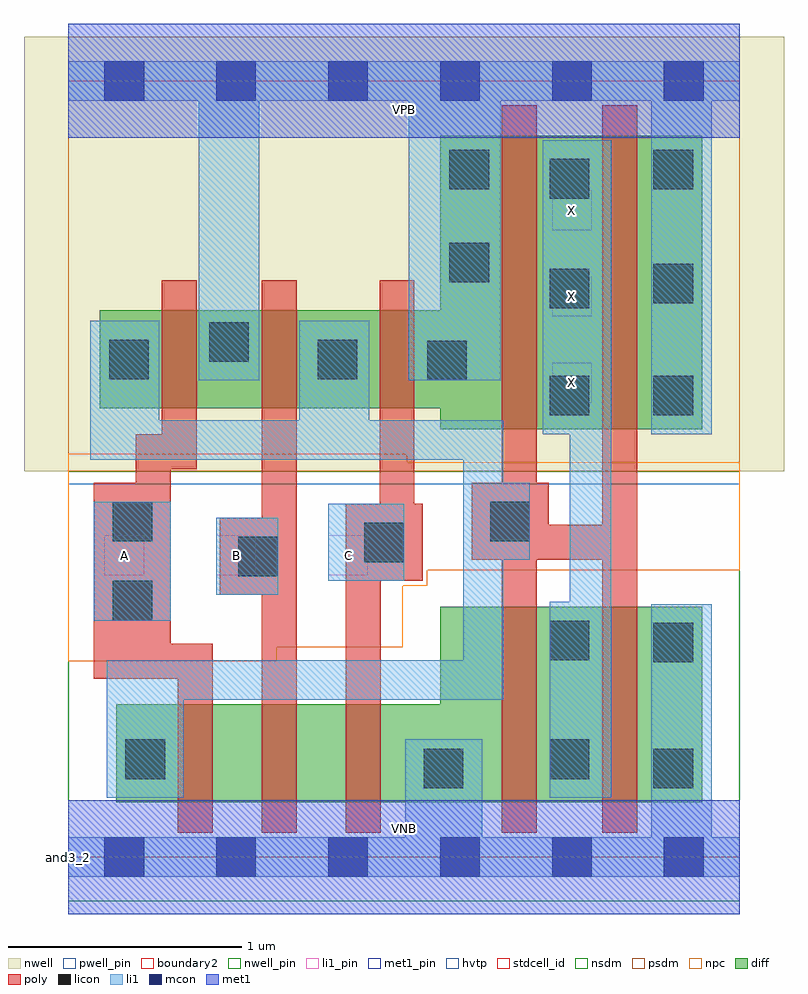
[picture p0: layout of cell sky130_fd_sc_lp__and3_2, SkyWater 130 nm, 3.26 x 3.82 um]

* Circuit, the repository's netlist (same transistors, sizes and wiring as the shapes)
* Copyright 2020 The SkyWater PDK Authors
*
* Licensed under the Apache License, Version 2.0 (the "License");
* you may not use this file except in compliance with the License.
* You may obtain a copy of the License at
*
*     https://www.apache.org/licenses/LICENSE-2.0
*
* Unless required by applicable law or agreed to in writing, software
* distributed under the License is distributed on an "AS IS" BASIS,
* WITHOUT WARRANTIES OR CONDITIONS OF ANY KIND, either express or implied.
* See the License for the specific language governing permissions and
* limitations under the License.
*
* SPDX-License-Identifier: Apache-2.0

.SUBCKT sky130_fd_sc_lp__and3_2 A B C VGND VNB VPB VPWR X
*.PININFO A:I B:I C:I VGND:I VNB:I VPB:I VPWR:I X:O
MMP0 y A VPWR VPB sky130_fd_pr__pfet_01v8_hvt m=1 w=0.42U l=0.15U mult=1 sa=0.265
+ sb=0.265 sd=0.28 area=0.063 perim=1.14
MMP1 y B VPWR VPB sky130_fd_pr__pfet_01v8_hvt m=1 w=0.42U l=0.15U mult=1 sa=0.265
+ sb=0.265 sd=0.28 area=0.063 perim=1.14
MMP2 y C VPWR VPB sky130_fd_pr__pfet_01v8_hvt m=1 w=0.42U l=0.15U mult=1 sa=0.265
+ sb=0.265 sd=0.28 area=0.063 perim=1.14
MMIP0 X y VPWR VPB sky130_fd_pr__pfet_01v8_hvt m=2 w=1.26U l=0.15U mult=1 sa=0.265
+ sb=0.265 sd=0.28 area=0.063 perim=1.14
MMN0 y A sndA VNB sky130_fd_pr__nfet_01v8 m=1 w=0.42U l=0.15U mult=1 sa=0.265 sb=0.265
+ sd=0.28 area=0.063 perim=1.14
MMN1 sndA B sndB VNB sky130_fd_pr__nfet_01v8 m=1 w=0.42U l=0.15U mult=1 sa=0.265
+ sb=0.265 sd=0.28 area=0.063 perim=1.14
MMN2 sndB C VGND VNB sky130_fd_pr__nfet_01v8 m=1 w=0.42U l=0.15U mult=1 sa=0.265
+ sb=0.265 sd=0.28 area=0.063 perim=1.14
MMIN0 X y VGND VNB sky130_fd_pr__nfet_01v8 m=2 w=0.84U l=0.15U mult=1 sa=0.265
+ sb=0.265 sd=0.28 area=0.063 perim=1.14
.ENDS sky130_fd_sc_lp__and3_2

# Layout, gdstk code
import gdstk
lib = gdstk.Library(unit=1e-6, precision=1e-09)
def R(c, l, rs):  # rectangles x0, y0, x1, y1
    for r in rs: c.add(gdstk.rectangle(r[:2], r[2:], *l))
def A(c, l, x, y, w, h, nx, ny, dx, dy):  # array of equal rectangles
    R(c, l, [(x+i*dx, y+j*dy, x+i*dx+w, y+j*dy+h) for i in range(nx) for j in range(ny)])
def P(c, l, *ps):  # polygons
    for p in ps: c.add(gdstk.Polygon(p, *l))
nwell_pin = (64, 16)
nwell = (64, 20)
diff = (65, 20)
poly = (66, 20)
licon = (66, 44)
li1_pin = (67, 16)
li1 = (67, 20)
mcon = (67, 44)
met1_pin = (68, 16)
met1 = (68, 20)
hvtp = (78, 44)
stdcell_id = (81, 4)
nsdm = (93, 44)
psdm = (94, 20)
npc = (95, 20)
pwell_pin = (122, 16)
boundary2 = (236, 0)

sky130_fd_sc_lp__and3_2 = lib.new_cell('sky130_fd_sc_lp__and3_2')
R(sky130_fd_sc_lp__and3_2, nwell_pin, [(0,3.085,2.88,3.33)])
R(sky130_fd_sc_lp__and3_2, nwell, [(-0.19,1.655,3.07,3.52)])
P(sky130_fd_sc_lp__and3_2, diff, [(2.72,3.095),(1.595,3.095),(1.595,2.345),(0.135,2.345),(0.135,1.925),(1.595,1.925),(1.595,1.835),(2.72,1.835)],
  [(2.72,1.075),(1.595,1.075),(1.595,0.655),(0.205,0.655),(0.205,0.235),(2.72,0.235)])
P(sky130_fd_sc_lp__and3_2, poly, [(0.62,0.915),(0.44,0.915),(0.44,1.665),(0.55,1.665),(0.55,2.475),(0.4,2.475),(0.4,1.815),(0.29,1.815),(0.29,1.605),(0.11,1.605),(0.11,0.765),(0.47,0.765),(0.47,0.105),(0.62,0.105)],
  [(0.98,2.475),(0.83,2.475),(0.83,1.455),(0.65,1.455),(0.65,1.125),(0.83,1.125),(0.83,0.105),(0.98,0.105)],
  [(1.52,1.515),(1.485,1.515),(1.485,2.475),(1.335,2.475),(1.335,1.515),(1.19,1.515),(1.19,0.105),(1.34,0.105),(1.34,1.185),(1.52,1.185)],
  [(2.44,3.225),(2.29,3.225),(2.29,1.425),(2.06,1.425),(2.06,1.605),(2.01,1.605),(2.01,3.225),(1.86,3.225),(1.86,1.605),(1.73,1.605),(1.73,1.275),(1.86,1.275),(1.86,0.105),(2.01,0.105),(2.01,1.275),(2.29,1.275),(2.29,0.105),(2.44,0.105)])
R(sky130_fd_sc_lp__and3_2, licon, [(1.525,0.295,1.695,0.465), (2.51,0.295,2.68,0.465), (0.245,0.335,0.415,0.505), (2.065,0.335,2.235,0.505), (2.51,0.835,2.68,1.005), (2.065,0.845,2.235,1.015), (0.19,1.015,0.36,1.185), (0.73,1.205,0.9,1.375), (1.27,1.265,1.44,1.435), (0.19,1.355,0.36,1.525), (1.81,1.355,1.98,1.525), (2.065,1.895,2.235,2.065), (2.51,1.895,2.68,2.065), (1.54,2.045,1.71,2.215), (0.175,2.05,0.345,2.22), (1.07,2.05,1.24,2.22), (0.605,2.125,0.775,2.295), (2.065,2.355,2.235,2.525), (2.51,2.375,2.68,2.545), (1.635,2.465,1.805,2.635), (2.065,2.825,2.235,2.995), (1.635,2.865,1.805,3.035), (2.51,2.865,2.68,3.035)])
A(sky130_fd_sc_lp__and3_2, li1_pin, 0.155, 1.21, 0.17, 0.17, 3, 1, 0.48, 0)
A(sky130_fd_sc_lp__and3_2, li1_pin, 2.075, 1.95, 0.17, 0.17, 1, 3, 0, 0.37)
R(sky130_fd_sc_lp__and3_2, li1, [(0.11,1.015,0.44,1.525), (0.635,1.125,0.9,1.455), (1.115,1.185,1.44,1.515)])
P(sky130_fd_sc_lp__and3_2, li1, [(0.56,2.045),(0.56,3.245),(0,3.245),(0,3.415),(2.88,3.415),(2.88,3.245),(2.76,3.245),(2.76,1.815),(2.5,1.815),(2.5,3.245),(1.855,3.245),(1.855,2.045),(1.46,2.045),(1.46,3.245),(0.82,3.245),(0.82,2.045)],
  [(1.445,0.085),(1.445,0.505),(1.775,0.505),(1.775,0.085),(2.5,0.085),(2.5,1.085),(2.76,1.085),(2.76,0.085),(2.88,0.085),(2.88,-0.085),(0,-0.085),(0,0.085)],
  [(2.035,1.815),(2.035,3.075),(2.33,3.075),(2.33,0.255),(2.065,0.255),(2.065,1.095),(2.15,1.095),(2.15,1.815)],
  [(0.99,1.875),(0.99,2.3),(1.29,2.3),(1.29,1.875),(1.865,1.875),(1.865,1.605),(1.98,1.605),(1.98,1.275),(1.865,1.275),(1.865,0.675),(0.495,0.675),(0.495,0.255),(0.165,0.255),(0.165,0.845),(1.695,0.845),(1.695,1.705),(0.095,1.705),(0.095,2.3),(0.39,2.3),(0.39,1.875)])
A(sky130_fd_sc_lp__and3_2, mcon, 0.155, -0.085, 0.17, 0.17, 6, 2, 0.48, 3.33)
R(sky130_fd_sc_lp__and3_2, met1_pin, [(0,0,2.88,0.245), (0,3.085,2.88,3.33)])
R(sky130_fd_sc_lp__and3_2, met1, [(0,-0.245,2.88,0.245), (0,3.085,2.88,3.575)])
R(sky130_fd_sc_lp__and3_2, hvtp, [(0,1.6,2.88,3.33)])
R(sky130_fd_sc_lp__and3_2, stdcell_id, [(0,0,2.88,3.33)])
R(sky130_fd_sc_lp__and3_2, nsdm, [(0,-0.19,2.88,1.655)])
R(sky130_fd_sc_lp__and3_2, psdm, [(0,1.655,2.88,3.52)])
P(sky130_fd_sc_lp__and3_2, npc, [(2.88,1.695),(1.455,1.695),(1.455,1.73),(0,1.73),(0,0.84),(0.895,0.84),(0.895,0.9),(1.435,0.9),(1.435,1.165),(1.54,1.165),(1.54,1.23),(2.88,1.23)])
R(sky130_fd_sc_lp__and3_2, pwell_pin, [(0,0,2.88,0.245)])
R(sky130_fd_sc_lp__and3_2, boundary2, [(0,0,2.88,3.33)])
sky130_fd_sc_lp__and3_2.add(gdstk.Label('VNB', (1.44,0.123), layer=64, texttype=59))
sky130_fd_sc_lp__and3_2.add(gdstk.Label('VPB', (1.44,3.208), layer=64, texttype=5))
sky130_fd_sc_lp__and3_2.add(gdstk.Label('and3_2', (0,0), layer=83, texttype=44))
sky130_fd_sc_lp__and3_2.add(gdstk.Label('VPWR', (1.44,3.208), layer=68, texttype=5))
sky130_fd_sc_lp__and3_2.add(gdstk.Label('VGND', (1.44,0.123), layer=68, texttype=5))
sky130_fd_sc_lp__and3_2.add(gdstk.Label('X', (2.16,2.035), layer=67, texttype=5))
sky130_fd_sc_lp__and3_2.add(gdstk.Label('X', (2.16,2.405), layer=67, texttype=5))
sky130_fd_sc_lp__and3_2.add(gdstk.Label('X', (2.16,2.775), layer=67, texttype=5))
sky130_fd_sc_lp__and3_2.add(gdstk.Label('B', (0.72,1.295), layer=67, texttype=5))
sky130_fd_sc_lp__and3_2.add(gdstk.Label('C', (1.2,1.295), layer=67, texttype=5))
sky130_fd_sc_lp__and3_2.add(gdstk.Label('A', (0.24,1.295), layer=67, texttype=5))

lib.write_gds('sky130_fd_sc_lp__and3_2.gds')
